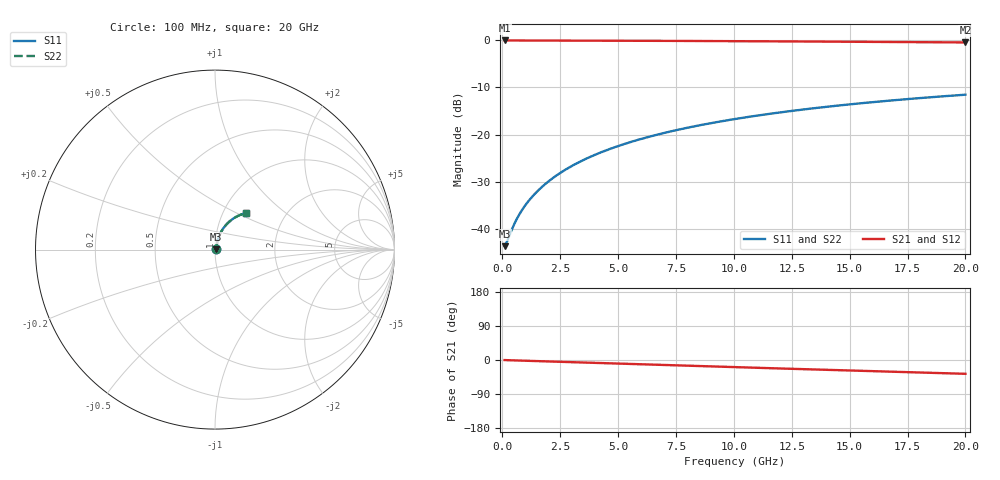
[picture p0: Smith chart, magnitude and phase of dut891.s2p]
! Touchstone file exported from HFSS 2026.1.0
!  File:  C:/ffzhzh/LocalFiles/Ansys_Project_Files/temp_train_BSMRDL_891_1783171239_18472.aedt
!  Generated:  09:21:48 PM Jul  4, 2026
!  Design:  BSMRDL
!  Project:  temp_train_BSMRDL_891_1783171239_18472
! Variables:
!  h_bsmrdl = 2.47um
!  h_ox = 20um
!  h_rdl = 5um
!  h_sub = 80um
!  h_tmrdl = 5um
!  h_tsv = 80um
!  h_via = 3um
!  l_bsmrdl = 588.1um
!  l_sub = 988.1um
!  l_tmrdl = 200um
!  m_sub = 200um
!  pitch = 23.43um
!  r_tsv = 6um
!  s_tmrdl = 10um
!  w_bsmrdl = 13.42um
!  w_sub = 500um
!  w_tmrdl = 12um
!  x_tsv_center1 = 206um
!  x_tsv_center2 = 807.52um
!  x_tsv_center3 = 1019.52um
!  x_tsv_center4 = 1621.04um
!  x_tsv_center5 = 1833.04um
!  x_tsv_center6 = 2434.56um
# GHz S MA R 50.000000
! Terminal data exported
! Port[1] = BSM_RDL1_1_T1
! Port[2] = BSM_RDL1_1_T2
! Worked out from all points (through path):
!   200 points, 100 MHz to 20 GHz, reference 50 ohm
!   highest |S21| = -0.06 dB at 100 MHz (marker M1); lowest = -0.5 dB at 20 GHz (marker M2)
!   group delay of S21, straight-line fit = 5.06 ps
!   lowest |S11| = -43.6 dB at 100 MHz (marker M3), VSWR 1.01, Z = 50.6 + j0.181 ohm
!   |S11| at or under -10 dB: start of sweep to end of sweep
!   |S22| runs from -43.6 to -11.5 dB; largest |S21 - S12| = 3.4e-15
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0.1  0.006645 15.6  0.9936 -0.2  0.9936 -0.2  0.006645 15.6
! Gamma 0 0 0 0
! Port Impedance 50 0 50 0
0.2  0.007425 28.5  0.9935 -0.4  0.9935 -0.4  0.007425 28.5
0.5  0.01114 49.9  0.9929 -1.0  0.9929 -1.0  0.01114 49.9
0.7  0.0139 56.5  0.9925 -1.4  0.9925 -1.4  0.0139 56.5
0.8  0.01529 58.8  0.9924 -1.6  0.9924 -1.6  0.01529 58.8
1  0.01807 62.4  0.9921 -2.0  0.9921 -2.0  0.01807 62.4
1.3  0.02227 66.1  0.9917 -2.5  0.9917 -2.5  0.02227 66.1
1.5  0.02509 67.9  0.9915 -2.9  0.9915 -2.9  0.02509 67.9
1.8  0.02936 69.9  0.9912 -3.5  0.9912 -3.5  0.02936 69.9
2.3  0.03656 71.9  0.9907 -4.4  0.9907 -4.4  0.03656 71.9
2.9  0.04529 73.2  0.9902 -5.5  0.9902 -5.5  0.04529 73.2
3.5  0.05407 73.7  0.9895 -6.7  0.9895 -6.7  0.05407 73.7
4.2  0.06431 73.7  0.9886 -8.0  0.9886 -8.0  0.06431 73.7
5  0.07598 73.2  0.9875 -9.5  0.9875 -9.5  0.07598 73.2
5.9  0.089 72.3  0.986 -11.2  0.986 -11.2  0.089 72.3
6.8  0.1019 71.2  0.9843 -12.9  0.9843 -12.9  0.1019 71.2
8.3  0.123 69.1  0.9812 -15.6  0.9812 -15.6  0.123 69.1
10.1  0.1475 66.3  0.9768 -18.9  0.9768 -18.9  0.1475 66.3
11.7  0.1686 63.7  0.9725 -21.8  0.9725 -21.8  0.1686 63.7
13.4  0.1902 60.9  0.9677 -24.9  0.9677 -24.9  0.1901 60.9
16.7  0.2295 55.4  0.9576 -30.7  0.9576 -30.7  0.2295 55.4
20  0.2653 50.0  0.9471 -36.4  0.9471 -36.4  0.2653 50.0
